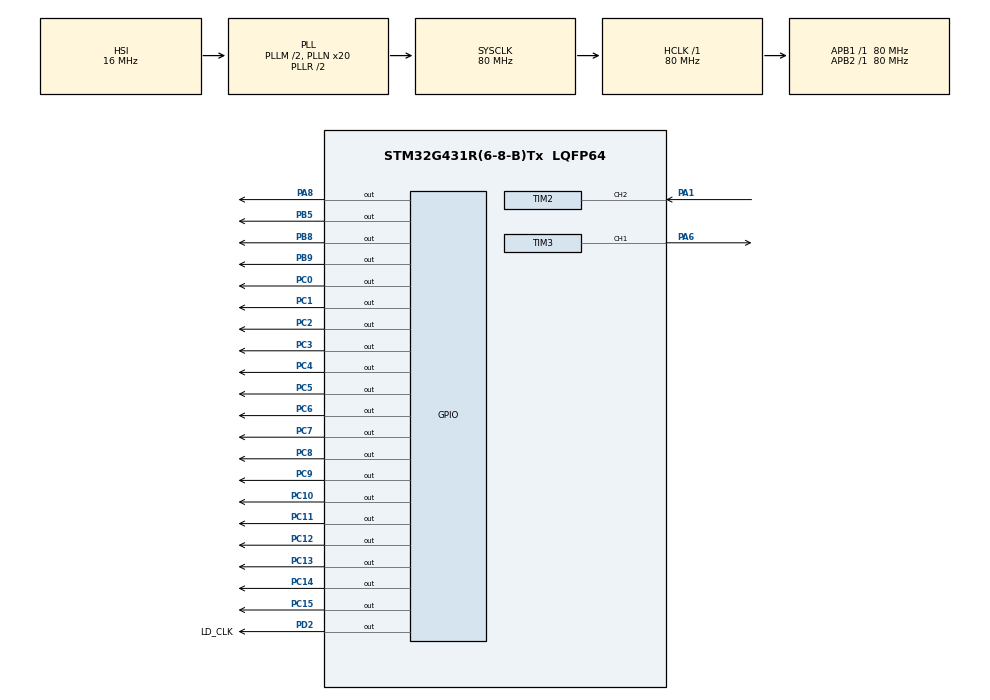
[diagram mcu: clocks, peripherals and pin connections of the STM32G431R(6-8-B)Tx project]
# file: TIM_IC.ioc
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Mcu.Family=STM32G4
Mcu.Name=STM32G431R(6-8-B)Tx
Mcu.Package=LQFP64
NVIC.PriorityGroup=NVIC_PRIORITYGROUP_4
NVIC.TIM2_IRQn=true\:0\:0\:false\:false\:true\:true\:true
NVIC.TIM3_IRQn=true\:0\:0\:false\:false\:true\:true\:true
PA1.Signal=S_TIM2_CH2
PA6.Signal=S_TIM3_CH1
PA8.Signal=GPIO_Output
PB5.Signal=GPIO_Output
PB8-BOOT0.Signal=GPIO_Output
PB9.Signal=GPIO_Output
PC0.Signal=GPIO_Output
PC1.Signal=GPIO_Output
PC10.Signal=GPIO_Output
PC11.Signal=GPIO_Output
PC12.Signal=GPIO_Output
PC13.Signal=GPIO_Output
PC14-OSC32_IN.Signal=GPIO_Output
PC15-OSC32_OUT.Signal=GPIO_Output
PC2.Signal=GPIO_Output
PC3.Signal=GPIO_Output
PC4.Signal=GPIO_Output
PC5.Signal=GPIO_Output
PC6.Signal=GPIO_Output
PC7.Signal=GPIO_Output
PC8.Signal=GPIO_Output
PC9.Signal=GPIO_Output
PD2.GPIO_Label=LD_CLK
PD2.Signal=GPIO_Output
PF0-OSC_IN.Mode=HSE-External-Oscillator
PF0-OSC_IN.Signal=RCC_OSC_IN
PF1-OSC_OUT.Mode=HSE-External-Oscillator
PF1-OSC_OUT.Signal=RCC_OSC_OUT
ProjectManager.HeapSize=0x200
ProjectManager.StackSize=0x400
ProjectManager.TargetToolchain=MDK-ARM V5.27
RCC.ADC12Freq_Value=80000000
RCC.AHBFreq_Value=80000000
RCC.APB1Freq_Value=80000000
RCC.APB1TimFreq_Value=80000000
RCC.APB2Freq_Value=80000000
RCC.APB2TimFreq_Value=80000000
RCC.CortexFreq_Value=80000000
RCC.EXTERNAL_CLOCK_VALUE=12288000
RCC.HCLKFreq_Value=80000000
RCC.HSE_VALUE=24000000
RCC.HSI48_VALUE=48000000
RCC.HSI_VALUE=16000000
RCC.LSE_VALUE=32768
RCC.PLLM=RCC_PLLM_DIV2
RCC.PLLN=20
RCC.SYSCLKFreq_VALUE=80000000
RCC.SYSCLKSource=RCC_SYSCLKSOURCE_PLLCLK
RCC.USBFreq_Value=80000000
RCC.VCOOutputFreq_Value=160000000
SH.S_TIM2_CH2.0=TIM2_CH2,Input_Capture2_from_TI2
SH.S_TIM3_CH1.0=TIM3_CH1,PWM Generation1 CH1
TIM2.Channel-Input_Capture2_from_TI2=TIM_CHANNEL_2
TIM2.PeriodNoDither=0xffffffff
TIM2.Prescaler=80-1
TIM3.Channel-PWM\ Generation1\ CH1=TIM_CHANNEL_1
TIM3.PeriodNoDither=1000-1
TIM3.Prescaler=80-1
TIM3.PulseNoDither_1=200
VP_SYS_VS_DBSignals.Mode=DisableDeadBatterySignals
VP_TIM3_VS_ClockSourceINT.Mode=Internal
board=custom

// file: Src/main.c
/* USER CODE BEGIN Header */
/**
  ******************************************************************************
  * @file           : main.c
  * @brief          : Main program body
  ******************************************************************************
  * @attention
  *
  * <h2><center>&copy; Copyright (c) 2021 STMicroelectronics.
  * All rights reserved.</center></h2>
  *
  * This software component is licensed by ST under BSD 3-Clause license,
  * the "License"; You may not use this file except in compliance with the
  * License. You may obtain a copy of the License at:
  *                        opensource.org/licenses/BSD-3-Clause
  *
  ******************************************************************************
  */
/* USER CODE END Header */
#include "main.h"

/* USER CODE BEGIN Includes */
#include <stdio.h>
#include "lcd.h"
/* USER CODE END Includes */

TIM_HandleTypeDef htim2;
TIM_HandleTypeDef htim3;

/* USER CODE BEGIN PV */
uint32_t capture_buf[3];
uint8_t overload_cnt = 0;
uint8_t capture_index = 0;
uint32_t high_time;
uint32_t low_time;
float HH_time;
float LL_time;
/* Duty Cycle Value */
__IO float uwDutyCycle = 0;
/* Frequency Value */
__IO float uwFrequency = 0;

uint8_t buf[30];
/* USER CODE END PV */

void SystemClock_Config(void);
static void MX_GPIO_Init(void);
static void MX_TIM2_Init(void);
static void MX_TIM3_Init(void);

int main(void)
{

  /* MCU Configuration--------------------------------------------------------*/

  /* Reset of all peripherals, Initializes the Flash interface and the Systick. */
  HAL_Init();

  /* Configure the system clock */
  SystemClock_Config();

  /* Initialize all configured peripherals */
  MX_GPIO_Init();
  MX_TIM2_Init();
  MX_TIM3_Init();
  /* USER CODE BEGIN 2 */
	LCD_Init();
	LCD_Clear(White);
	LCD_SetBackColor(White);
	LCD_SetTextColor(Black);

	HAL_TIM_PWM_Start(&htim3, TIM_CHANNEL_1);
	__HAL_TIM_SET_CAPTUREPOLARITY(&htim2, TIM_CHANNEL_2, TIM_ICPOLARITY_RISING);
	HAL_TIM_IC_Start_IT(&htim2, TIM_CHANNEL_2);
  /* USER CODE END 2 */

  /* Infinite loop */
  while (1)
  {

    /* USER CODE BEGIN 3 */

      //将处理好的值显示出来
      sprintf((char *)buf, "  Fre: %.0f      ", uwFrequency);
      LCD_DisplayStringLine(Line1, buf);
      sprintf((char *)buf, "  Duty: %.0f      ", uwDutyCycle);
      LCD_DisplayStringLine(Line2, buf);
			//HAL_Delay(100);
  }
  /* USER CODE END 3 */
}

void SystemClock_Config(void)
{
  RCC_OscInitTypeDef RCC_OscInitStruct = {0};
  RCC_ClkInitTypeDef RCC_ClkInitStruct = {0};

  /** Configure the main internal regulator output voltage
  */
  HAL_PWREx_ControlVoltageScaling(PWR_REGULATOR_VOLTAGE_SCALE1);
  /** Initializes the RCC Oscillators according to the specified parameters
  * in the RCC_OscInitTypeDef structure.
  */
  RCC_OscInitStruct.OscillatorType = RCC_OSCILLATORTYPE_HSI;
  RCC_OscInitStruct.HSIState = RCC_HSI_ON;
  RCC_OscInitStruct.HSICalibrationValue = RCC_HSICALIBRATION_DEFAULT;
  RCC_OscInitStruct.PLL.PLLState = RCC_PLL_ON;
  RCC_OscInitStruct.PLL.PLLSource = RCC_PLLSOURCE_HSI;
  RCC_OscInitStruct.PLL.PLLM = RCC_PLLM_DIV2;
  RCC_OscInitStruct.PLL.PLLN = 20;
  RCC_OscInitStruct.PLL.PLLP = RCC_PLLP_DIV2;
  RCC_OscInitStruct.PLL.PLLQ = RCC_PLLQ_DIV2;
  RCC_OscInitStruct.PLL.PLLR = RCC_PLLR_DIV2;
  if (HAL_RCC_OscConfig(&RCC_OscInitStruct) != HAL_OK)
  {
    Error_Handler();
  }
  /** Initializes the CPU, AHB and APB buses clocks
  */
  RCC_ClkInitStruct.ClockType = RCC_CLOCKTYPE_HCLK|RCC_CLOCKTYPE_SYSCLK
                              |RCC_CLOCKTYPE_PCLK1|RCC_CLOCKTYPE_PCLK2;
  RCC_ClkInitStruct.SYSCLKSource = RCC_SYSCLKSOURCE_PLLCLK;
  RCC_ClkInitStruct.AHBCLKDivider = RCC_SYSCLK_DIV1;
  RCC_ClkInitStruct.APB1CLKDivider = RCC_HCLK_DIV1;
  RCC_ClkInitStruct.APB2CLKDivider = RCC_HCLK_DIV1;

  if (HAL_RCC_ClockConfig(&RCC_ClkInitStruct, FLASH_LATENCY_2) != HAL_OK)
  {
    Error_Handler();
  }
}

static void MX_TIM2_Init(void)
{

  TIM_MasterConfigTypeDef sMasterConfig = {0};
  TIM_IC_InitTypeDef sConfigIC = {0};

  htim2.Instance = TIM2;
  htim2.Init.Prescaler = 80-1;
  htim2.Init.CounterMode = TIM_COUNTERMODE_UP;
  htim2.Init.Period = 4.294967295E9;
  htim2.Init.ClockDivision = TIM_CLOCKDIVISION_DIV1;
  htim2.Init.AutoReloadPreload = TIM_AUTORELOAD_PRELOAD_DISABLE;
  if (HAL_TIM_IC_Init(&htim2) != HAL_OK)
  {
    Error_Handler();
  }
  sMasterConfig.MasterOutputTrigger = TIM_TRGO_RESET;
  sMasterConfig.MasterSlaveMode = TIM_MASTERSLAVEMODE_DISABLE;
  if (HAL_TIMEx_MasterConfigSynchronization(&htim2, &sMasterConfig) != HAL_OK)
  {
    Error_Handler();
  }
  sConfigIC.ICPolarity = TIM_INPUTCHANNELPOLARITY_RISING;
  sConfigIC.ICSelection = TIM_ICSELECTION_DIRECTTI;
  sConfigIC.ICPrescaler = TIM_ICPSC_DIV1;
  sConfigIC.ICFilter = 0;
  if (HAL_TIM_IC_ConfigChannel(&htim2, &sConfigIC, TIM_CHANNEL_2) != HAL_OK)
  {
    Error_Handler();
  }

}

static void MX_TIM3_Init(void)
{

  TIM_ClockConfigTypeDef sClockSourceConfig = {0};
  TIM_MasterConfigTypeDef sMasterConfig = {0};
  TIM_OC_InitTypeDef sConfigOC = {0};

  htim3.Instance = TIM3;
  htim3.Init.Prescaler = 80-1;
  htim3.Init.CounterMode = TIM_COUNTERMODE_UP;
  htim3.Init.Period = 9;
  htim3.Init.ClockDivision = TIM_CLOCKDIVISION_DIV1;
  htim3.Init.AutoReloadPreload = TIM_AUTORELOAD_PRELOAD_DISABLE;
  if (HAL_TIM_Base_Init(&htim3) != HAL_OK)
  {
    Error_Handler();
  }
  sClockSourceConfig.ClockSource = TIM_CLOCKSOURCE_INTERNAL;
  if (HAL_TIM_ConfigClockSource(&htim3, &sClockSourceConfig) != HAL_OK)
  {
    Error_Handler();
  }
  if (HAL_TIM_PWM_Init(&htim3) != HAL_OK)
  {
    Error_Handler();
  }
  sMasterConfig.MasterOutputTrigger = TIM_TRGO_RESET;
  sMasterConfig.MasterSlaveMode = TIM_MASTERSLAVEMODE_DISABLE;
  if (HAL_TIMEx_MasterConfigSynchronization(&htim3, &sMasterConfig) != HAL_OK)
  {
    Error_Handler();
  }
  sConfigOC.OCMode = TIM_OCMODE_PWM1;
  sConfigOC.Pulse = 2;
  sConfigOC.OCPolarity = TIM_OCPOLARITY_HIGH;
  sConfigOC.OCFastMode = TIM_OCFAST_DISABLE;
  if (HAL_TIM_PWM_ConfigChannel(&htim3, &sConfigOC, TIM_CHANNEL_1) != HAL_OK)
  {
    Error_Handler();
  }
  HAL_TIM_MspPostInit(&htim3);

}

static void MX_GPIO_Init(void)
{
  GPIO_InitTypeDef GPIO_InitStruct = {0};

  /* GPIO Ports Clock Enable */
  __HAL_RCC_GPIOC_CLK_ENABLE();
  __HAL_RCC_GPIOF_CLK_ENABLE();
  __HAL_RCC_GPIOA_CLK_ENABLE();
  __HAL_RCC_GPIOD_CLK_ENABLE();
  __HAL_RCC_GPIOB_CLK_ENABLE();

  /*Configure GPIO pin Output Level */
  HAL_GPIO_WritePin(GPIOC, GPIO_PIN_13|GPIO_PIN_14|GPIO_PIN_15|GPIO_PIN_0
                          |GPIO_PIN_1|GPIO_PIN_2|GPIO_PIN_3|GPIO_PIN_4
                          |GPIO_PIN_5|GPIO_PIN_6|GPIO_PIN_7|GPIO_PIN_8
                          |GPIO_PIN_9|GPIO_PIN_10|GPIO_PIN_11|GPIO_PIN_12, GPIO_PIN_RESET);

  /*Configure GPIO pin Output Level */
  HAL_GPIO_WritePin(GPIOA, GPIO_PIN_8, GPIO_PIN_RESET);

  /*Configure GPIO pin Output Level */
  HAL_GPIO_WritePin(LD_CLK_GPIO_Port, LD_CLK_Pin, GPIO_PIN_RESET);

  /*Configure GPIO pin Output Level */
  HAL_GPIO_WritePin(GPIOB, GPIO_PIN_5|GPIO_PIN_8|GPIO_PIN_9, GPIO_PIN_RESET);

  /*Configure GPIO pins : PC13 PC14 PC15 PC0
                           PC1 PC2 PC3 PC4
                           PC5 PC6 PC7 PC8
                           PC9 PC10 PC11 PC12 */
  GPIO_InitStruct.Pin = GPIO_PIN_13|GPIO_PIN_14|GPIO_PIN_15|GPIO_PIN_0
                          |GPIO_PIN_1|GPIO_PIN_2|GPIO_PIN_3|GPIO_PIN_4
                          |GPIO_PIN_5|GPIO_PIN_6|GPIO_PIN_7|GPIO_PIN_8
                          |GPIO_PIN_9|GPIO_PIN_10|GPIO_PIN_11|GPIO_PIN_12;
  GPIO_InitStruct.Mode = GPIO_MODE_OUTPUT_PP;
  GPIO_InitStruct.Pull = GPIO_NOPULL;
  GPIO_InitStruct.Speed = GPIO_SPEED_FREQ_LOW;
  HAL_GPIO_Init(GPIOC, &GPIO_InitStruct);

  /*Configure GPIO pin : PA8 */
  GPIO_InitStruct.Pin = GPIO_PIN_8;
  GPIO_InitStruct.Mode = GPIO_MODE_OUTPUT_PP;
  GPIO_InitStruct.Pull = GPIO_NOPULL;
  GPIO_InitStruct.Speed = GPIO_SPEED_FREQ_LOW;
  HAL_GPIO_Init(GPIOA, &GPIO_InitStruct);

  /*Configure GPIO pin : LD_CLK_Pin */
  GPIO_InitStruct.Pin = LD_CLK_Pin;
  GPIO_InitStruct.Mode = GPIO_MODE_OUTPUT_PP;
  GPIO_InitStruct.Pull = GPIO_NOPULL;
  GPIO_InitStruct.Speed = GPIO_SPEED_FREQ_LOW;
  HAL_GPIO_Init(LD_CLK_GPIO_Port, &GPIO_InitStruct);

  /*Configure GPIO pins : PB5 PB8 PB9 */
  GPIO_InitStruct.Pin = GPIO_PIN_5|GPIO_PIN_8|GPIO_PIN_9;
  GPIO_InitStruct.Mode = GPIO_MODE_OUTPUT_PP;
  GPIO_InitStruct.Pull = GPIO_NOPULL;
  GPIO_InitStruct.Speed = GPIO_SPEED_FREQ_LOW;
  HAL_GPIO_Init(GPIOB, &GPIO_InitStruct);

}

/* USER CODE BEGIN 4 */
void HAL_TIM_PeriodElapsedCallback(TIM_HandleTypeDef *htim)
{
	if(htim->Instance == htim2.Instance)
	{
		overload_cnt++;//溢出
	}
}
void HAL_TIM_IC_CaptureCallback(TIM_HandleTypeDef *htim)
{
  if (htim->Channel == HAL_TIM_ACTIVE_CHANNEL_2)
  {
		if(capture_index == 0){
			capture_buf[0] = HAL_TIM_ReadCapturedValue(&htim2, TIM_CHANNEL_2);
			__HAL_TIM_SET_CAPTUREPOLARITY(&htim2, TIM_CHANNEL_2, TIM_ICPOLARITY_FALLING);
			capture_index = 1;

		}else if(capture_index == 1){
			capture_buf[1] = HAL_TIM_ReadCapturedValue(&htim2, TIM_CHANNEL_2);
			__HAL_TIM_SET_CAPTUREPOLARITY(&htim2, TIM_CHANNEL_2, TIM_ICPOLARITY_RISING);
			capture_index = 2;

		}else if(capture_index == 2){
			capture_buf[2] = HAL_TIM_ReadCapturedValue(&htim2, TIM_CHANNEL_2);
			HAL_TIM_IC_Stop_IT(&htim2, TIM_CHANNEL_2);
			high_time = capture_buf[1] - capture_buf[0] + overload_cnt*0xffffffff;
			low_time = capture_buf[2] - capture_buf[1] + overload_cnt*0xffffffff;
			HH_time = high_time*0.001;
			LL_time = low_time*0.001;
			uwFrequency = 1/(HH_time + LL_time)*1000;
			uwDutyCycle = HH_time/(HH_time+LL_time)*100;
			capture_index = 0;
			overload_cnt = 1;
			__HAL_TIM_SET_CAPTUREPOLARITY(&htim2, TIM_CHANNEL_2, TIM_ICPOLARITY_RISING);
			HAL_TIM_IC_Start_IT(&htim2, TIM_CHANNEL_2);
		}
  }
}
/* USER CODE END 4 */

void Error_Handler(void)
{
  __disable_irq();
  while (1)
  {
  }
}

/************************ (C) COPYRIGHT STMicroelectronics *****END OF FILE****/
